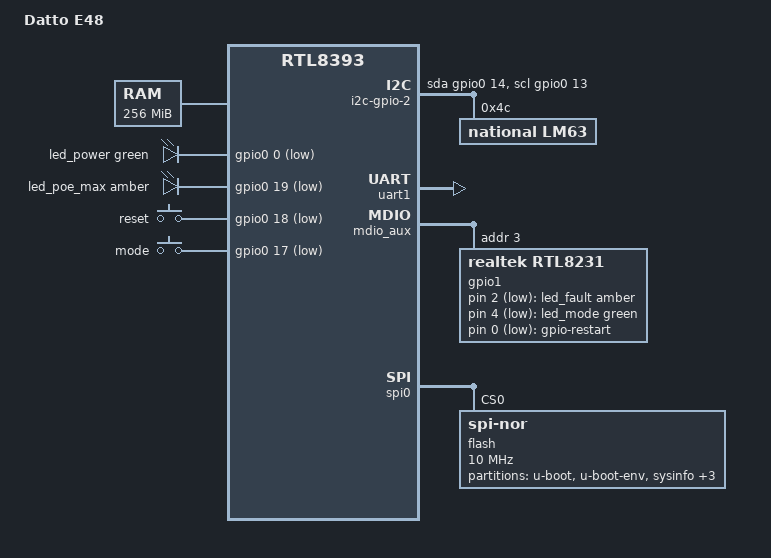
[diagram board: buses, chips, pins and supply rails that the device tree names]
// SPDX-License-Identifier: GPL-2.0-or-later OR MIT

#include <dt-bindings/gpio/gpio.h>
#include <dt-bindings/input/input.h>
#include <dt-bindings/leds/common.h>
#include "rtl839x.dtsi"

/ {
	compatible = "datto,e48", "realtek,rtl8393-soc";
	model = "Datto E48";

	aliases {
		led-boot = &led_power;
		led-failsafe = &led_power;
		led-running = &led_power;
		led-upgrade = &led_power;
	};

	memory@0 {
		device_type = "memory";
		reg = <0x0 0x10000000>;
	};

	leds: leds {
		pinctrl-names = "default";
		pinctrl-0 = <&pinmux_disable_sys_led>;
		compatible = "gpio-leds";

		led_power: led-0 {
			function = LED_FUNCTION_POWER;
			color = <LED_COLOR_ID_GREEN>;
			gpios = <&gpio0 0 GPIO_ACTIVE_LOW>;
		};

		led_poe_max: led-1 {
			function = LED_FUNCTION_FAULT;
			color = <LED_COLOR_ID_AMBER>;
			gpios = <&gpio0 19 GPIO_ACTIVE_LOW>;
		};

		led_fault: led-2 {
			function = LED_FUNCTION_FAULT;
			color = <LED_COLOR_ID_AMBER>;
			gpios = <&gpio1 2 GPIO_ACTIVE_LOW>;
		};

		/* low: LAN, high: POE */
		led_mode: led-3 {
			function = LED_FUNCTION_STATUS;
			color = <LED_COLOR_ID_GREEN>;
			gpios = <&gpio1 4 GPIO_ACTIVE_LOW>;
		};
	};

	keys {
		compatible = "gpio-keys";

		reset {
			label = "reset";
			gpios = <&gpio0 18 GPIO_ACTIVE_LOW>;
			linux,code = <KEY_RESTART>;
			debounce-interval = <100>;
		};

		mode {
			label = "mode";
			gpios = <&gpio0 17 GPIO_ACTIVE_LOW>;
			linux,code = <KEY_LIGHTS_TOGGLE>;
			debounce-interval = <100>;
		};
	};

	gpio-restart {
		compatible = "gpio-restart";
		gpios = <&gpio1 0 GPIO_ACTIVE_LOW>;
		open-source;
	};

	/* LM63 */
	i2c-gpio-2 {
		compatible = "i2c-gpio";
		sda-gpios = <&gpio0 14 (GPIO_ACTIVE_HIGH | GPIO_OPEN_DRAIN)>;
		scl-gpios = <&gpio0 13 GPIO_ACTIVE_HIGH>;
		i2c-gpio,delay-us = <2>;
		i2c-gpio,scl-open-drain; /* should be replaced by i2c-gpio,scl-has-no-pullup in kernel 6.6 */
		#address-cells = <1>;
		#size-cells = <0>;

		lm63@4c {
			compatible = "national,lm63";
			reg = <0x4c>;
		};
	};
};

&uart1 {
	status = "okay";
};

&mdio_aux {
	status = "okay";

	gpio1: expander@3 {
		compatible = "realtek,rtl8231";
		reg = <3>;

		gpio-controller;
		#gpio-cells = <2>;
		gpio-ranges = <&gpio1 0 0 37>;

		led-controller {
			compatible = "realtek,rtl8231-leds";
			status = "disabled";
		};
	};
};

&mdio_bus0 {
	/* External phy RTL8218B #1 */
	PHY_C22(0,0)
	PHY_C22(1,1)
	PHY_C22(2,2)
	PHY_C22(3,3)
	PHY_C22(4,4)
	PHY_C22(5,5)
	PHY_C22(6,6)
	PHY_C22(7,7)

	/* External phy RTL8218B #2 */
	PHY_C22(8,8)
	PHY_C22(9,9)
	PHY_C22(10,10)
	PHY_C22(11,11)
	PHY_C22(12,12)
	PHY_C22(13,13)
	PHY_C22(14,14)
	PHY_C22(15,15)

	/* External phy RTL8218B #3 */
	PHY_C22(16,16)
	PHY_C22(17,17)
	PHY_C22(18,18)
	PHY_C22(19,19)
	PHY_C22(20,20)
	PHY_C22(21,21)
	PHY_C22(22,22)
	PHY_C22(23,23)

	/* External phy RTL8218B #4 */
	PHY_C22(24,24)
	PHY_C22(25,25)
	PHY_C22(26,26)
	PHY_C22(27,27)
	PHY_C22(28,28)
	PHY_C22(29,29)
	PHY_C22(30,30)
	PHY_C22(31,31)

	/* External phy RTL8218B #5 */
	PHY_C22(32,32)
	PHY_C22(33,33)
	PHY_C22(34,34)
	PHY_C22(35,35)
	PHY_C22(36,36)
	PHY_C22(37,37)
	PHY_C22(38,38)
	PHY_C22(39,39)

	/* External phy RTL8218B #6 */
	PHY_C22(40,40)
	PHY_C22(41,41)
	PHY_C22(42,42)
	PHY_C22(43,43)
	PHY_C22(44,44)
	PHY_C22(45,45)
	PHY_C22(46,46)
	PHY_C22(47,47)

	/* External phy RTL8214FC */
	/*
	* EXTERNAL_SFP_PHY_FULL(48, 0)
	* EXTERNAL_SFP_PHY_FULL(49, 1)
	* EXTERNAL_SFP_PHY_FULL(50, 2)
	* EXTERNAL_SFP_PHY_FULL(51, 3)
	*/
};

&switch0 {
	ethernet-ports {
		#address-cells = <1>;
		#size-cells = <0>;

		SWITCH_PORT(0, 1, qsgmii)
		SWITCH_PORT(1, 2, qsgmii)
		SWITCH_PORT(2, 3, qsgmii)
		SWITCH_PORT(3, 4, qsgmii)
		SWITCH_PORT(4, 5, qsgmii)
		SWITCH_PORT(5, 6, qsgmii)
		SWITCH_PORT(6, 7, qsgmii)
		SWITCH_PORT(7, 8, qsgmii)

		SWITCH_PORT(8, 9, qsgmii)
		SWITCH_PORT(9, 10, qsgmii)
		SWITCH_PORT(10, 11, qsgmii)
		SWITCH_PORT(11, 12, qsgmii)
		SWITCH_PORT(12, 13, qsgmii)
		SWITCH_PORT(13, 14, qsgmii)
		SWITCH_PORT(14, 15, qsgmii)
		SWITCH_PORT(15, 16, qsgmii)

		SWITCH_PORT(16, 17, qsgmii)
		SWITCH_PORT(17, 18, qsgmii)
		SWITCH_PORT(18, 19, qsgmii)
		SWITCH_PORT(19, 20, qsgmii)
		SWITCH_PORT(20, 21, qsgmii)
		SWITCH_PORT(21, 22, qsgmii)
		SWITCH_PORT(22, 23, qsgmii)
		SWITCH_PORT(23, 24, qsgmii)

		SWITCH_PORT(24, 25, qsgmii)
		SWITCH_PORT(25, 26, qsgmii)
		SWITCH_PORT(26, 27, qsgmii)
		SWITCH_PORT(27, 28, qsgmii)
		SWITCH_PORT(28, 29, qsgmii)
		SWITCH_PORT(29, 30, qsgmii)
		SWITCH_PORT(30, 31, qsgmii)
		SWITCH_PORT(31, 32, qsgmii)

		SWITCH_PORT(32, 33, qsgmii)
		SWITCH_PORT(33, 34, qsgmii)
		SWITCH_PORT(34, 35, qsgmii)
		SWITCH_PORT(35, 36, qsgmii)
		SWITCH_PORT(36, 37, qsgmii)
		SWITCH_PORT(37, 38, qsgmii)
		SWITCH_PORT(38, 39, qsgmii)
		SWITCH_PORT(39, 40, qsgmii)

		SWITCH_PORT(40, 41, qsgmii)
		SWITCH_PORT(41, 42, qsgmii)
		SWITCH_PORT(42, 43, qsgmii)
		SWITCH_PORT(43, 44, qsgmii)
		SWITCH_PORT(44, 45, qsgmii)
		SWITCH_PORT(45, 46, qsgmii)
		SWITCH_PORT(46, 47, qsgmii)
		SWITCH_PORT(47, 48, qsgmii)

		/*
		* SWITCH_PORT(48, 49, qsgmii)
		* SWITCH_PORT(49, 50, qsgmii)
		* SWITCH_PORT(50, 51, qsgmii)
		* SWITCH_PORT(51, 52, qsgmii)
		*/

		/* CPU-Port */
		port@52 {
			ethernet = <&ethernet0>;
			reg = <52>;
			phy-mode = "internal";
			fixed-link {
				speed = <1000>;
				full-duplex;
			};
		};
	};
};

&spi0 {
	status = "okay";
	flash@0 {
		compatible = "jedec,spi-nor";
		reg = <0>;
		spi-max-frequency = <10000000>;

		partitions {
			compatible = "fixed-partitions";
			#address-cells = <1>;
			#size-cells = <1>;

			partition@0 {
				label = "u-boot";
				reg = <0x00000000 0x80000>;
				read-only;
			};
			partition@80000 {
				label = "u-boot-env";
				reg = <0x00080000 0x10000>;
			};
			partition@90000 {
				label = "sysinfo";
				reg = <0x00090000 0x20000>;
			};
			partition@a0000 {
				label = "cfg";
				reg = <0x000a0000 0x400000>;
			};
			partition@4a0000 {
				label = "log";
				reg = <0x004a0000 0x100000>;
			};
			partition@5a0000 {
				label = "firmware"; /* runtime */
				reg = <0x005a0000 0x1a60000>;
				compatible = "openwrt,uimage", "denx,uimage";
				openwrt,ih-magic = <0x00702201>;
			};
		};
	};
};
